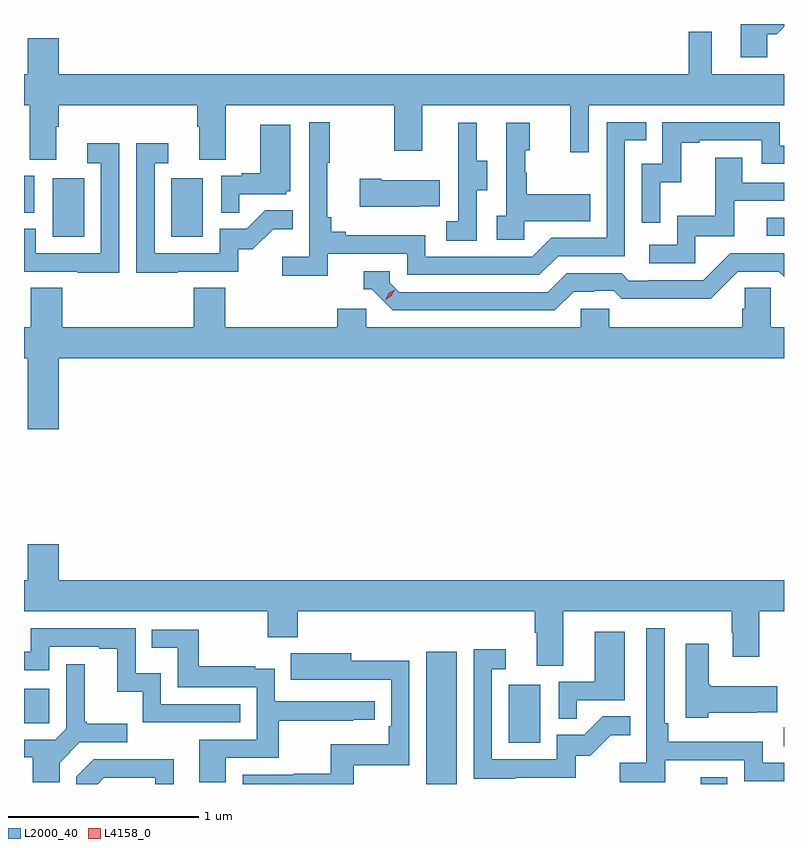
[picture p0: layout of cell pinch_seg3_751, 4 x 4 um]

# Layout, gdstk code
import gdstk
lib = gdstk.Library(unit=1e-6, precision=1e-09)
def R(c, l, rs):  # rectangles x0, y0, x1, y1
    for r in rs: c.add(gdstk.rectangle(r[:2], r[2:], *l))
def P(c, l, *ps):  # polygons
    for p in ps: c.add(gdstk.Polygon(p, *l))
L2000_40 = (2000, 40)
L4158_0 = (4158, 0)

pinch_seg3_751 = lib.new_cell('pinch_seg3_751')
R(pinch_seg3_751, L2000_40, [(850.421,730.644,850.582,731.341), (851.867,730.644,852.006,730.68), (852.303,730.84,852.304,730.943), (850.856,730.86,851.02,731.167), (848.304,730.965,848.436,731.145), (848.456,733.524,848.62,733.831), (849.08,733.524,849.244,733.831), (852.213,733.53,852.304,733.623), (848.304,733.651,848.358,733.845)])
P(pinch_seg3_751, L2000_40, [(852.217,734.591),(852.266,734.591),(852.304,734.629),(852.304,734.644),(852.077,734.644),(852.077,734.469),(852.217,734.469)],
  [(848.473,734.104),(848.486,734.104),(848.486,734.216),(849.215,734.216),(849.215,734.104),(849.227,734.104),(849.227,733.93),(849.367,733.93),(849.367,734.216),(850.252,734.216),(850.252,733.977),(850.399,733.977),(850.399,734.216),(851.18,734.216),(851.18,733.968),(851.277,733.968),(851.277,734.216),(852.304,734.216),(852.304,734.38),(851.923,734.38),(851.923,734.602),(851.802,734.602),(851.802,734.38),(848.488,734.38),(848.488,734.569),(848.324,734.569),(848.324,734.38),(848.304,734.38),(848.304,734.216),(848.333,734.216),(848.333,733.93),(848.473,733.93)],
  [(849.902,733.434),(850.32,733.434),(850.32,733.323),(851.017,733.323),(851.116,733.422),(851.466,733.422),(851.466,734.031),(851.579,734.031),(851.579,734.127),(851.37,734.127),(851.37,733.518),(851.079,733.518),(850.98,733.419),(850.416,733.419),(850.416,733.531),(849.997,733.531),(849.997,733.55),(849.92,733.55),(849.92,733.627),(849.901,733.627),(849.901,733.915),(849.913,733.915),(849.913,734.128),(849.804,734.128),(849.804,733.42),(849.663,733.42),(849.663,733.318),(849.902,733.318)],
  [(851.652,733.811),(851.762,733.811),(851.762,734.019),(851.857,734.019),(851.857,734.031),(852.186,734.031),(852.186,733.908),(852.304,733.908),(852.304,734.004),(852.282,734.004),(852.282,734.127),(851.664,734.127),(851.664,733.908),(851.556,733.908),(851.556,733.599),(851.652,733.599)],
  [(850.938,733.607),(851.285,733.607),(851.285,733.747),(850.951,733.747),(850.951,733.862),(850.941,733.862),(850.941,733.98),(850.966,733.98),(850.966,734.125),(850.842,734.125),(850.842,733.634),(850.791,733.634),(850.791,733.509),(850.938,733.509)],
  [(850.686,733.768),(850.741,733.768),(850.741,733.923),(850.687,733.923),(850.687,734.125),(850.589,734.125),(850.589,733.911),(850.59,733.911),(850.59,733.607),(850.527,733.607),(850.527,733.504),(850.686,733.504)],
  [(849.437,733.749),(849.684,733.749),(849.684,733.764),(849.706,733.764),(849.706,734.113),(849.548,734.113),(849.548,733.858),(849.449,733.858),(849.449,733.845),(849.342,733.845),(849.342,733.651),(849.437,733.651)],
  [(849.113,733.341),(849.432,733.341),(849.432,733.458),(849.508,733.458),(849.615,733.565),(849.719,733.565),(849.719,733.664),(849.575,733.664),(849.477,733.566),(849.333,733.566),(849.333,733.437),(848.991,733.437),(848.991,733.911),(849.064,733.911),(849.064,734.017),(848.895,734.017),(848.895,733.336),(849.113,733.336)],
  [(848.805,734.017),(848.637,734.017),(848.637,733.911),(848.709,733.911),(848.709,733.437),(848.367,733.437),(848.367,733.566),(848.304,733.566),(848.304,733.341),(848.587,733.341),(848.587,733.336),(848.805,733.336)],
  [(851.838,733.527),(852.043,733.527),(852.043,733.713),(852.304,733.713),(852.304,733.809),(852.085,733.809),(852.085,733.939),(851.941,733.939),(851.941,733.636),(851.742,733.636),(851.742,733.482),(851.595,733.482),(851.595,733.386),(851.838,733.386)],
  [(850.385,733.685),(850.493,733.685),(850.493,733.822),(850.183,733.822),(850.183,733.83),(850.071,733.83),(850.071,733.682),(850.385,733.682)],
  [(851.197,733.236),(851.304,733.236),(851.304,733.239),(851.407,733.239),(851.449,733.197),(851.682,733.197),(851.682,733.199),(851.918,733.199),(852.06,733.341),(852.276,733.341),(852.304,733.313),(852.304,733.437),(852.021,733.437),(851.88,733.296),(851.587,733.296),(851.587,733.293),(851.488,733.293),(851.449,733.332),(851.16,733.332),(851.061,733.233),(850.278,733.233),(850.23,733.281),(850.23,733.344),(850.091,733.344),(850.091,733.248),(850.134,733.248),(850.245,733.137),(851.098,733.137)],
  [(848.488,732.884),(852.304,732.884),(852.304,733.048),(852.234,733.048),(852.234,733.256),(852.097,733.256),(852.097,733.146),(852.083,733.146),(852.083,733.048),(851.385,733.048),(851.385,733.146),(851.235,733.146),(851.235,733.048),(850.104,733.048),(850.104,733.146),(849.953,733.146),(849.953,733.048),(849.362,733.048),(849.362,733.256),(849.197,733.256),(849.197,733.048),(848.504,733.048),(848.504,733.256),(848.339,733.256),(848.339,733.048),(848.304,733.048),(848.304,732.884),(848.324,732.884),(848.324,732.51),(848.488,732.51)],
  [(851.143,731.552),(852.028,731.552),(852.028,731.441),(852.035,731.441),(852.035,731.313),(852.175,731.313),(852.175,731.552),(852.304,731.552),(852.304,731.716),(848.488,731.716),(848.488,731.905),(848.324,731.905),(848.324,731.716),(848.304,731.716),(848.304,731.552),(849.586,731.552),(849.586,731.417),(849.746,731.417),(849.746,731.552),(850.991,731.552),(850.991,731.44),(851.003,731.44),(851.003,731.266),(851.143,731.266)],
  [(851.678,730.77),(852.096,730.77),(852.096,730.659),(852.304,730.659),(852.304,730.755),(852.192,730.755),(852.192,730.866),(851.696,730.866),(851.696,730.963),(851.676,730.963),(851.676,731.464),(851.58,731.464),(851.58,730.756),(851.439,730.756),(851.439,730.654),(851.678,730.654)],
  [(849.443,731.064),(849.024,731.064),(849.024,731.227),(848.892,731.227),(848.892,731.463),(848.34,731.463),(848.34,731.34),(848.304,731.34),(848.304,731.244),(848.436,731.244),(848.436,731.367),(848.699,731.367),(848.699,731.355),(848.795,731.355),(848.795,731.129),(848.928,731.129),(848.928,730.968),(849.443,730.968)],
  [(849.367,730.782),(849.644,730.782),(849.644,730.978),(850.037,730.978),(850.037,730.983),(850.15,730.983),(850.15,731.079),(849.624,731.079),(849.624,731.251),(849.521,731.251),(849.521,731.263),(849.223,731.263),(849.223,731.457),(848.977,731.457),(848.977,731.36),(849.112,731.36),(849.112,731.154),(849.528,731.154),(849.528,730.878),(849.227,730.878),(849.227,730.654),(849.367,730.654)],
  [(851.213,731.085),(851.467,731.085),(851.467,731.446),(851.309,731.446),(851.309,731.181),(851.118,731.181),(851.118,730.987),(851.213,730.987)],
  [(851.904,731.018),(852.161,731.018),(852.161,731.021),(852.269,731.021),(852.269,731.158),(851.916,731.158),(851.916,731.166),(851.908,731.166),(851.908,731.383),(851.786,731.383),(851.786,730.994),(851.904,730.994)],
  [(850.889,730.677),(851.208,730.677),(851.208,730.794),(851.284,730.794),(851.391,730.901),(851.495,730.901),(851.495,731),(851.351,731),(851.253,730.902),(851.109,730.902),(851.109,730.773),(850.767,730.773),(850.767,731.247),(850.84,731.247),(850.84,731.353),(850.671,731.353),(850.671,730.672),(850.889,730.672)],
  [(850.039,730.743),(850.332,730.743),(850.332,731.294),(850.027,731.294),(850.027,731.332),(849.709,731.332),(849.709,731.192),(849.923,731.192),(849.923,731.193),(850.236,731.193),(850.236,730.948),(850.223,730.948),(850.223,730.852),(849.918,730.852),(849.918,730.697),(849.721,730.697),(849.721,730.692),(849.456,730.692),(849.456,730.644),(850.039,730.644)],
  [(848.491,730.756),(848.598,730.863),(848.848,730.863),(848.848,730.96),(848.635,730.96),(848.635,730.972),(848.623,730.972),(848.623,731.275),(848.526,731.275),(848.526,730.935),(848.469,730.878),(848.304,730.878),(848.304,730.786),(848.351,730.786),(848.351,730.654),(848.491,730.654)],
  [(848.724,730.677),(848.994,730.677),(848.994,730.644),(849.091,730.644),(849.091,730.775),(848.886,730.775),(848.886,730.773),(848.67,730.773),(848.58,730.683),(848.58,730.644),(848.691,730.644)])
P(pinch_seg3_751, L4158_0, [(850.208,733.194),(850.208,733.195),(850.224,733.227),(850.254,733.246),(850.255,733.246),(850.255,733.246),(850.238,733.214),(850.208,733.194)])

lib.write_gds('pinch_seg3_751.gds')
